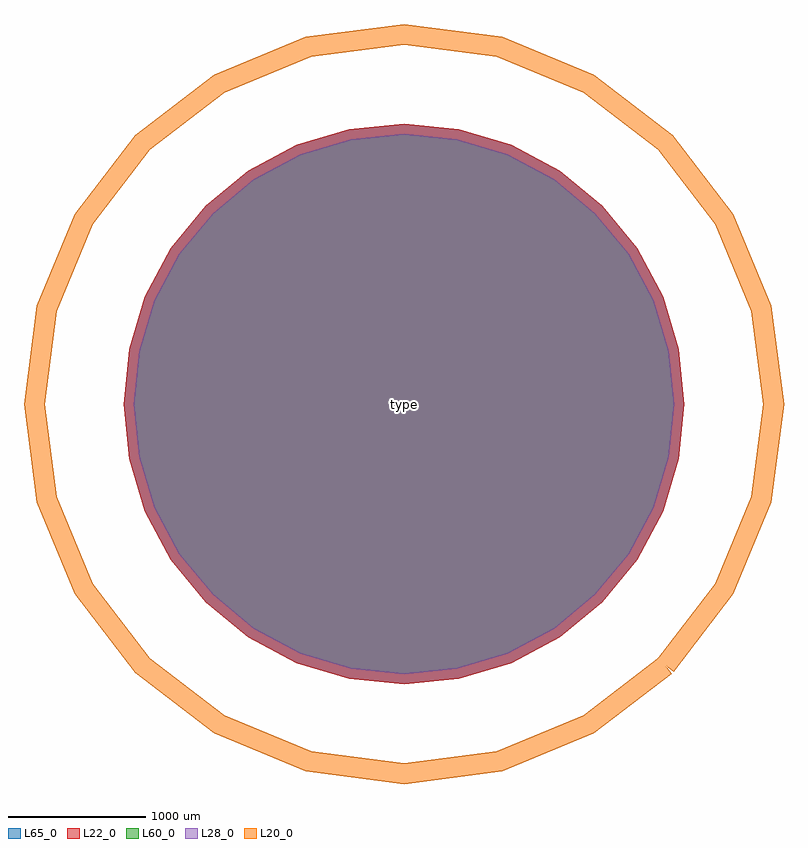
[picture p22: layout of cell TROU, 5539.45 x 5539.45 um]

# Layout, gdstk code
import gdstk
lib = gdstk.Library(unit=1e-6, precision=1e-09)
def P(c, l, *ps):  # polygons
    for p in ps: c.add(gdstk.Polygon(p, *l))
L20_0 = (20, 0)
L22_0 = (22, 0)
L28_0 = (28, 0)
L60_0 = (60, 0)
L65_0 = (65, 0)

trou = lib.new_cell('TROU')
P(trou, L22_0, [(2043.5,0),(2004.235,398.667),(1887.948,782.014),(1699.108,1135.308),(1444.973,1444.973),(1135.308,1699.108),(782.014,1887.948),(398.667,2004.235),(0,2043.5),(-398.667,2004.235),(-782.014,1887.948),(-1135.308,1699.108),(-1444.973,1444.973),(-1699.108,1135.308),(-1887.948,782.014),(-2004.235,398.667),(-2043.5,0),(-2004.235,-398.667),(-1887.948,-782.014),(-1699.108,-1135.308),(-1444.973,-1444.973),(-1135.308,-1699.108),(-782.014,-1887.948),(-398.667,-2004.235),(0,-2043.5),(398.667,-2004.235),(782.014,-1887.948),(1135.308,-1699.108),(1444.973,-1444.973),(1699.108,-1135.308),(1887.948,-782.014),(2004.235,-398.667)])
P(trou, L28_0, [(1968.5,0),(1930.676,384.035),(1818.657,753.312),(1636.748,1093.64),(1391.94,1391.94),(1093.64,1636.748),(753.312,1818.657),(384.035,1930.676),(0,1968.5),(-384.035,1930.676),(-753.312,1818.657),(-1093.64,1636.748),(-1391.94,1391.94),(-1636.748,1093.64),(-1818.657,753.312),(-1930.676,384.035),(-1968.5,0),(-1930.676,-384.035),(-1818.657,-753.312),(-1636.748,-1093.64),(-1391.94,-1391.94),(-1093.64,-1636.748),(-753.312,-1818.657),(-384.035,-1930.676),(0,-1968.5),(384.035,-1930.676),(753.312,-1818.657),(1093.64,-1636.748),(1391.94,-1391.94),(1636.748,-1093.64),(1818.657,-753.312),(1930.676,-384.035)])
P(trou, L60_0, [(1968.5,0),(1930.676,384.035),(1818.657,753.312),(1636.748,1093.64),(1391.94,1391.94),(1093.64,1636.748),(753.312,1818.657),(384.035,1930.676),(0,1968.5),(-384.035,1930.676),(-753.312,1818.657),(-1093.64,1636.748),(-1391.94,1391.94),(-1636.748,1093.64),(-1818.657,753.312),(-1930.676,384.035),(-1968.5,0),(-1930.676,-384.035),(-1818.657,-753.312),(-1636.748,-1093.64),(-1391.94,-1391.94),(-1093.64,-1636.748),(-753.312,-1818.657),(-384.035,-1930.676),(0,-1968.5),(384.035,-1930.676),(753.312,-1818.657),(1093.64,-1636.748),(1391.94,-1391.94),(1636.748,-1093.64),(1818.657,-753.312),(1930.676,-384.035)])
P(trou, L65_0, [(2043.5,0),(2004.235,398.667),(1887.948,782.014),(1699.108,1135.308),(1444.973,1444.973),(1135.308,1699.108),(782.014,1887.948),(398.667,2004.235),(0,2043.5),(-398.667,2004.235),(-782.014,1887.948),(-1135.308,1699.108),(-1444.973,1444.973),(-1699.108,1135.308),(-1887.948,782.014),(-2004.235,398.667),(-2043.5,0),(-2004.235,-398.667),(-1887.948,-782.014),(-1699.108,-1135.308),(-1444.973,-1444.973),(-1135.308,-1699.108),(-782.014,-1887.948),(-398.667,-2004.235),(0,-2043.5),(398.667,-2004.235),(782.014,-1887.948),(1135.308,-1699.108),(1444.973,-1444.973),(1699.108,-1135.308),(1887.948,-782.014),(2004.235,-398.667)])
trou.add(gdstk.FlexPath([(1905,-1905),(2333.139,-1347.038),(2602.278,-697.278),(2694.077,0),(2602.278,697.278),(2333.139,1347.038),(1905,1905),(1347.038,2333.139),(697.278,2602.278),(0,2694.077),(-697.278,2602.278),(-1347.038,2333.139),(-1905,1905),(-2333.139,1347.038),(-2602.278,697.278),(-2694.077,0),(-2602.278,-697.278),(-2333.139,-1347.038),(-1905,-1905),(-1347.038,-2333.139),(-697.278,-2602.278),(0,-2694.077),(697.278,-2602.278),(1347.038,-2333.139),(1905,-1905)], 149.998, ends="flush", simple_path=True, layer=20, datatype=0))  # L20_0
trou.add(gdstk.Label('type', (0,0), layer=9, texttype=0))
trou.add(gdstk.Label('devicename', (381,-4191), layer=9, texttype=0))

lib.write_gds('TROU.gds')
